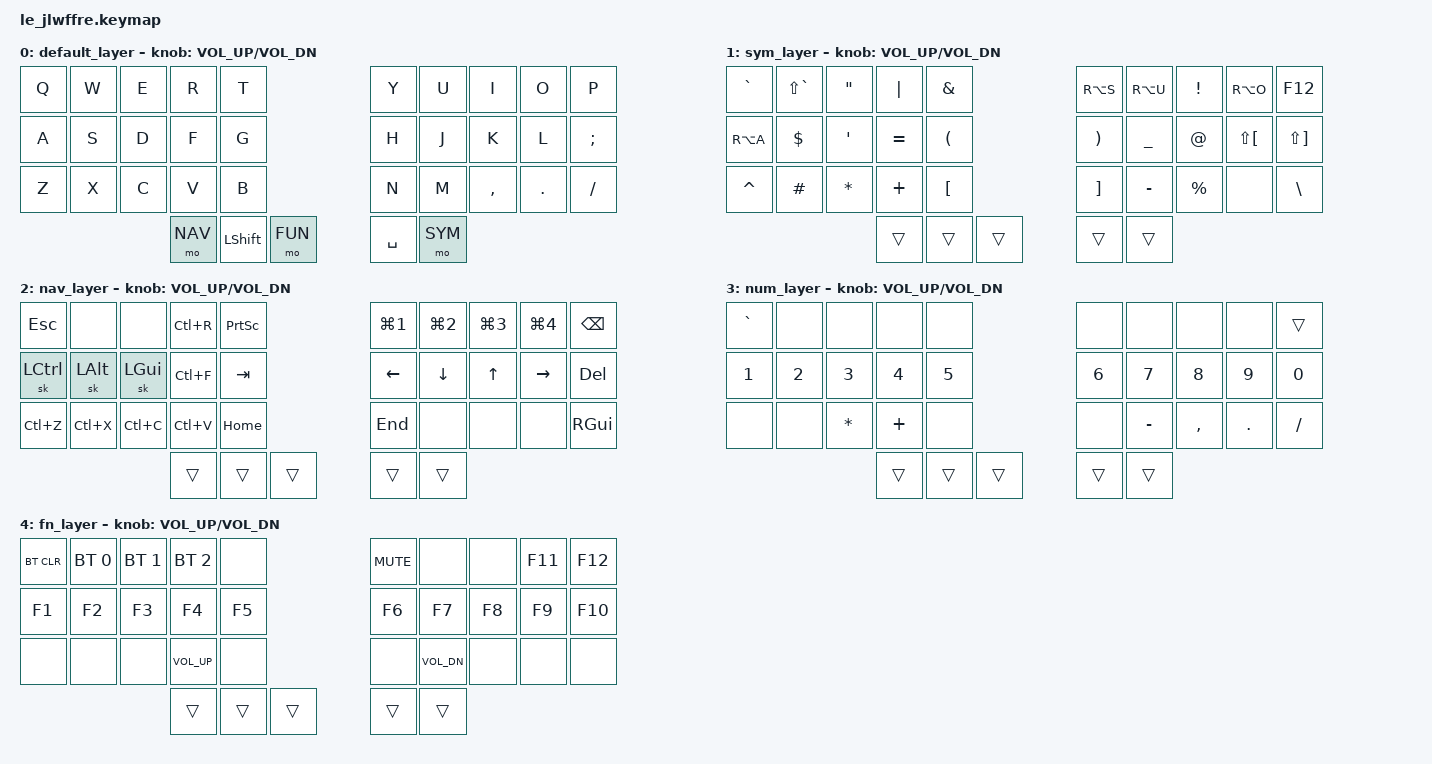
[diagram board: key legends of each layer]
/*
 * Copyright (c) 2022 The ZMK Contributors
 *
 * SPDX-License-Identifier: MIT
 */

#include <behaviors.dtsi>
#include <dt-bindings/zmk/keys.h>
#include <dt-bindings/zmk/bt.h>
#define DEFAULT 0
#define SYM 1
#define NAV 2
#define NUM 3
#define FUN 4

/ {
    behaviors {
        ht: hold_tap {
            compatible = "zmk,behavior-hold-tap";
            #binding-cells = <2>;
            flavor = "balanced";
            tapping-term-ms = <200>;
            quick-tap-ms = <220>;
            require-prior-idle-ms = <125>;
            bindings = <&kp>, <&kp>;
        };
        mt: mod_tap {
            #binding-cells = <2>;
            tapping-term-ms = <200>;
            quick-tap-ms = <220>;
            require-prior-idle-ms = <125>;
            bindings = <&kp>, <&kp>;
        };
        as_ht: autoshift_hold_tap {
            compatible = "zmk,behavior-hold-tap";
            #binding-cells = <2>;
            tapping-term-ms = <200>;
            bindings = <&shifted>, <&kp>;
            flavor = "tap-preferred";
        };

        combos {
            compatible = "zmk,combos";
            combo_enter {
                timeout-ms = <50>;
                key-positions = <18 19>;
                bindings = <&kp ENTER>;
            };
            combo_reset {
                timeout-ms = <50>;
                key-positions = <0 9>;
                layers = <SYM>;
                bindings = <&sys_reset>;
            };
            combo_boot {
                timeout-ms = <50>;
                key-positions = <5 20>;
                layers = <SYM>;
                bindings = <&bootloader>;
            };
        };
        conditional_layers {
            compatible = "zmk,conditional-layers";
            tri_layer {
                if-layers = <SYM NAV>;
                then-layer = <NUM>;
            };
        };
    };

    macros {
        shifted: macro_shifted_kp {
            #binding-cells = <1>;
            compatible = "zmk,behavior-macro-one-param";
            bindings =
              <&macro_press &kp LSHFT>,
              <&macro_param_1to1 &macro_tap &kp MACRO_PLACEHOLDER>,
              <&macro_release &kp LSHFT>;
        };
        as: autoshift {
            compatible = "zmk,behavior-macro-one-param";
            #binding-cells = <1>;
            bindings =
              <&macro_press>,
              <&macro_param_1to1>,
              <&macro_param_1to2>,
              <&as_ht MACRO_PLACEHOLDER MACRO_PLACEHOLDER>,
              <&macro_pause_for_release>,
              <&macro_release>,
              <&macro_param_1to1>,
              <&macro_param_1to2>,
              <&as_ht MACRO_PLACEHOLDER MACRO_PLACEHOLDER>;
        };
    };

    keymap {
        compatible = "zmk,keymap";
        default_layer {
            bindings = <
        //╭──────────┬──────────┬──────────┬──────────┬──────────╮                      ╭──────────┬──────────┬──────────┬──────────┬──────────╮
        //│  Q       │  W       │  E       │  R       │  T       │                      │  Y       │  U       │  I       │  O       │   P      │
            &kp Q      &kp W      &kp E      &kp R      &kp T                             &kp Y      &kp U      &kp I      &kp O      &kp P
        //├──────────┼──────────┼──────────┼──────────┼──────────┤                      ├──────────┼──────────┼──────────┼──────────┼──────────┤
        //│  A       │  S       │  D       │  F       │  G       │                      │  H       │  J       │  K       │  L       │ ; :      │
            &kp A      &kp S      &kp D      &kp F     &kp G                             &kp H      &kp J      &kp K      &kp L       &kp SEMI 
        //├──────────┼──────────┼──────────┼──────────┼──────────┤                      ├──────────┼──────────┼──────────┼──────────┼──────────┤
        //│  Z       │  X       │  C       │  V       │  B       │                      │  N       │  M       │ , <      │ . >      │ / ?      │
            &kp Z      &kp X      &kp C      &kp V      &kp B                             &kp N      &kp M      &kp COMMA  &kp DOT    &kp FSLH
        //╰──────────┴──────────┴──────────┼──────────┼──────────┤                      ├──────────┼──────────┼──────────┴──────────┴──────────╯
                                            &mo NAV      &kp LSHIFT    &mo FUN              &kp SPACE  &mo SYM 
        //                                 ╰──────────┴──────────╯                      ╰──────────┴──────────╯
            >;
            sensor-bindings = <&inc_dec_kp C_VOL_UP C_VOL_DN>;
        };
        sym_layer {
            bindings = <
        //╭──────────┬──────────┬──────────┬──────────┬──────────╮      ╭──────────┬──────────┬──────────┬──────────┬──────────╮
        //│  ~       │  `       │  "       │    |     │    &     │      │  ß       │ ü        │ !        │  ö       │  F12     │
            &kp GRAVE &kp LS(GRAVE) &kp DQT &kp PIPE  &kp AMPS          &kp RA(S)   &kp RA(U)   &kp EXCLAMATION &kp RA(O) &kp F12
        //├──────────┼──────────┼──────────┼──────────┼──────────┤      ├──────────┼──────────┼──────────┼──────────┼──────────┤
        //│  ä       │  $       │ '        │  =       │  (       │      │  )       │  _       │  @       │  {       │  }       │
            &kp RA(A) &kp DOLLAR &kp APOS  &kp EQUAL     &kp LPAR        &kp RPAR     &kp UNDER  &kp AT  &kp LS(LEFT_BRACKET) &kp LS(RIGHT_BRACKET)
        //├──────────┼──────────┼──────────┼──────────┼──────────┤      ├──────────┼──────────┼──────────┼──────────┼──────────┤
        //│  ^       │ #        │  *       │  +       │ [        │      │  ]       │   -      │ %        │          │ \        │
            &kp CARET &kp HASH &kp STAR &kp PLUS &kp LEFT_BRACKET    &kp RIGHT_BRACKET &kp MINUS &kp PERCENT &none &kp BACKSLASH
        //╰──────────┴──────────┴──────────┼──────────┼──────────┤      ├──────────┼──────────┼──────────┴──────────┴──────────╯
                                             &trans     &trans    &trans  &trans     &trans
        //                                 ╰──────────┴──────────╯      ╰──────────┴──────────╯
            >;
            sensor-bindings = <&inc_dec_kp C_VOL_UP C_VOL_DN>;
        };
        nav_layer {
            bindings = <
        //╭──────────┬──────────┬──────────┬──────────┬──────────╮      ╭──────────┬──────────┬──────────┬──────────┬──────────╮
        //│          │          │          │          │PRINTSCREEN│     │  WS 1    │ WS 2     │  WS 3    │ WS 4     │BACKSPACE │
            &kp ESC      &none  &none       &kp LC(R)   &kp PSCRN        &kp LG(N1) &kp LG(N2) &kp LG(N3) &kp LG(N4) &kp BACKSPACE 
        //├──────────┼──────────┼──────────┼──────────┼──────────┤      ├──────────┼──────────┼──────────┼──────────┼──────────┤
        //│  LCTRL    │  LALT    │ LGUI    │          │          │      │  LEFT    │  DOWN    │  UP      │  RIGHT   │  DEL     │
            &sk LCTRL   &sk LALT   &sk LGUI  &kp LC(F)   &kp TAB           &kp LEFT    &kp DOWN   &kp UP  &kp RIGHT  &kp DEL
        //├──────────┼──────────┼──────────┼──────────┼──────────┤      ├──────────┼──────────┼──────────┼──────────┼──────────┤
        //│          │          │          │          │  HOME    │      │    END   │          │          │          │          │
            &kp LC(Z)   &kp LC(X) &kp LC(C)  &kp LC(V)    &kp HOME       &kp END      &none      &none      &none      &kp RGUI
        //╰──────────┴──────────┴──────────┼──────────┼──────────┤      ├──────────┼──────────┼──────────┴──────────┴──────────╯
                                             &trans     &trans    &trans  &trans     &trans
        //                                 ╰──────────┴──────────╯      ╰──────────┴──────────╯
            >;
            sensor-bindings = <&inc_dec_kp C_VOL_UP C_VOL_DN>;
        };
        num_layer {
            bindings = <
        //╭──────────┬──────────┬──────────┬──────────┬──────────╮      ╭──────────┬──────────┬──────────┬──────────┬──────────╮
        //│  ` ~     │          │          │          │          │      │          │          │          │          │          │
            &kp GRAVE  &none      &none      &none      &none             &none      &none      &none       &none    &trans
        //├──────────┼──────────┼──────────┼──────────┼──────────┤      ├──────────┼──────────┼──────────┼──────────┼──────────┤
        //│  1 !     │  2 @     │  3 #     │  4 $     │  5 %     │      │  6 ^     │  7 &     │  8 *     │  9 (     │  0 )     │
            &kp N1     &kp N2     &kp N3     &kp N4     &kp N5            &kp N6     &kp N7     &kp N8     &kp N9     &kp N0
        //├──────────┼──────────┼──────────┼──────────┼──────────┤      ├──────────┼──────────┼──────────┼──────────┼──────────┤
        //│          │          │   *      │          │          │      │          │          │          │          │          │
            &none       &none     &kp STAR   &kp PLUS      &none           &none    &kp MINUS  &kp COMMA  &kp DOT    &kp FSLH
        //╰──────────┴──────────┴──────────┼──────────┼──────────┤      ├──────────┼──────────┼──────────┴──────────┴──────────╯
                                             &trans     &trans    &trans  &trans     &trans
        //                                 ╰──────────┴──────────╯      ╰──────────┴──────────╯
            >;
            sensor-bindings = <&inc_dec_kp C_VOL_UP C_VOL_DN>;
        };
        fn_layer {
            bindings = <
        //╭──────────┬──────────┬──────────┬──────────┬──────────╮      ╭──────────┬──────────┬──────────┬──────────┬──────────╮
        //│          │          │          │          │          │      │          │          │          │  F11     │  F12     │
            &bt BT_CLR  &bt BT_SEL 0 &bt BT_SEL 1 &bt BT_SEL 2 &none      &kp C_MUTE     &none      &none      &kp F11    &kp F12
        //├──────────┼──────────┼──────────┼──────────┼──────────┤      ├──────────┼──────────┼──────────┼──────────┼──────────┤
        //│  F1      │  F2      │  F3      │  F4      │  F5      │      │  F6      │  F7      │  F8      │  F9      │  F10     │
            &kp F1    &kp F2        &kp F3       &kp F4     &kp F5            &kp F6     &kp F7   &kp F8    &kp F9     &kp F10
        //├──────────┼──────────┼──────────┼──────────┼──────────┤      ├──────────┼──────────┼──────────┼──────────┼──────────┤
        //│          │          │          │          │          │      │          │          │          │          │          │
            &none      &none      &none      &kp C_VOL_UP &none            &none    &kp C_VOL_DN  &none      &none      &none
        //╰──────────┴──────────┴──────────┼──────────┼──────────┤      ├──────────┼──────────┼──────────┴──────────┴──────────╯
                                             &trans     &trans    &trans  &trans     &trans
        //                                 ╰──────────┴──────────╯      ╰──────────┴──────────╯
            >;
            sensor-bindings = <&inc_dec_kp C_VOL_UP C_VOL_DN>;
        };

    };

};
